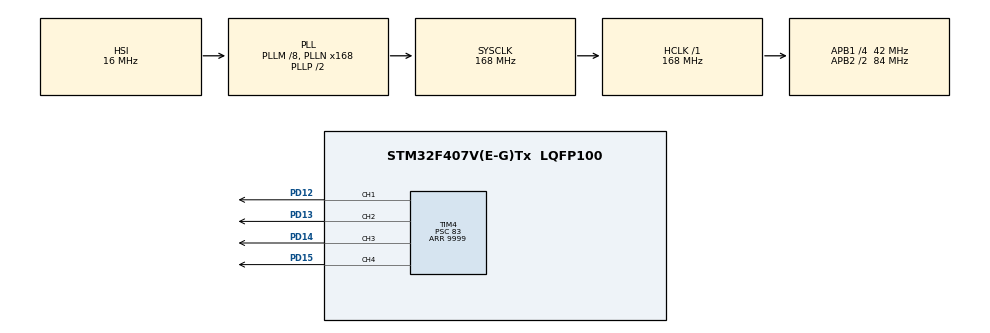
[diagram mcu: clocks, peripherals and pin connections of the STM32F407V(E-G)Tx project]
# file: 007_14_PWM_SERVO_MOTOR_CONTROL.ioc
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Mcu.Family=STM32F4
Mcu.Name=STM32F407V(E-G)Tx
Mcu.Package=LQFP100
NVIC.PriorityGroup=NVIC_PRIORITYGROUP_4
PD12.Signal=S_TIM4_CH1
PD13.Signal=S_TIM4_CH2
PD14.Signal=S_TIM4_CH3
PD15.Signal=S_TIM4_CH4
ProjectManager.HeapSize=0x200
ProjectManager.StackSize=0x400
ProjectManager.TargetToolchain=STM32CubeIDE
RCC.48MHZClocksFreq_Value=84000000
RCC.AHBFreq_Value=168000000
RCC.APB1CLKDivider=RCC_HCLK_DIV4
RCC.APB1Freq_Value=42000000
RCC.APB1TimFreq_Value=84000000
RCC.APB2CLKDivider=RCC_HCLK_DIV2
RCC.APB2Freq_Value=84000000
RCC.APB2TimFreq_Value=168000000
RCC.CortexFreq_Value=168000000
RCC.HCLKFreq_Value=168000000
RCC.HSE_VALUE=25000000
RCC.HSI_VALUE=16000000
RCC.LSE_VALUE=32768
RCC.PLLM=8
RCC.PLLN=168
RCC.SYSCLKFreq_VALUE=168000000
RCC.SYSCLKSource=RCC_SYSCLKSOURCE_PLLCLK
RCC.VCOOutputFreq_Value=336000000
SH.S_TIM4_CH1.0=TIM4_CH1,PWM Generation1 CH1
SH.S_TIM4_CH2.0=TIM4_CH2,PWM Generation2 CH2
SH.S_TIM4_CH3.0=TIM4_CH3,PWM Generation3 CH3
SH.S_TIM4_CH4.0=TIM4_CH4,PWM Generation4 CH4
TIM4.Channel-PWM\ Generation1\ CH1=TIM_CHANNEL_1
TIM4.Channel-PWM\ Generation2\ CH2=TIM_CHANNEL_2
TIM4.Channel-PWM\ Generation3\ CH3=TIM_CHANNEL_3
TIM4.Channel-PWM\ Generation4\ CH4=TIM_CHANNEL_4
TIM4.Period=9999
TIM4.Prescaler=83
board=custom

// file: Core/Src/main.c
/* USER CODE BEGIN Header */
/**
  ******************************************************************************
  * @file           : main.c
  * @brief          : Main program body
  ******************************************************************************
  * @attention
  *
  * Copyright (c) 2023 STMicroelectronics.
  * All rights reserved.
  *
  * This software is licensed under terms that can be found in the LICENSE file
  * in the root directory of this software component.
  * If no LICENSE file comes with this software, it is provided AS-IS.
  *
  ******************************************************************************
  */
/* USER CODE END Header */
#include "main.h"

TIM_HandleTypeDef htim4;

/* USER CODE BEGIN PV */
int i;
/* USER CODE END PV */

void SystemClock_Config(void);
static void MX_GPIO_Init(void);
static void MX_TIM4_Init(void);

int main(void)
{

  /* MCU Configuration--------------------------------------------------------*/

  /* Reset of all peripherals, Initializes the Flash interface and the Systick. */
  HAL_Init();

  /* Configure the system clock */
  SystemClock_Config();

  /* Initialize all configured peripherals */
  MX_GPIO_Init();
  MX_TIM4_Init();
  /* USER CODE BEGIN 2 */

  HAL_TIM_PWM_Start(&htim4, TIM_CHANNEL_1);
  HAL_TIM_PWM_Start(&htim4, TIM_CHANNEL_2);
  HAL_TIM_PWM_Start(&htim4, TIM_CHANNEL_3);
  HAL_TIM_PWM_Start(&htim4, TIM_CHANNEL_4);

  //timer4 ün channel1 ini pwm olarak baslattik

  /* USER CODE END 2 */

  /* Infinite loop */
  while (1)
  {

    /* USER CODE BEGIN 3 */
	  for(i=500;i<2500;i++)
	  {
		  __HAL_TIM_SetCompare(&htim4, TIM_CHANNEL_1,i);
		  __HAL_TIM_SetCompare(&htim4, TIM_CHANNEL_2,i);
		  __HAL_TIM_SetCompare(&htim4, TIM_CHANNEL_3,i);
		  __HAL_TIM_SetCompare(&htim4, TIM_CHANNEL_4,i);
		  HAL_Delay(1);
	  }
	  for(i=2500;i>=500;i--)
	 	  {
	 		  __HAL_TIM_SetCompare(&htim4, TIM_CHANNEL_1,i);
	 		 __HAL_TIM_SetCompare(&htim4, TIM_CHANNEL_2,i);
	 		__HAL_TIM_SetCompare(&htim4, TIM_CHANNEL_3,i);
	 		__HAL_TIM_SetCompare(&htim4, TIM_CHANNEL_4,i);
	 		  HAL_Delay(1);
	 	  }
  }
  /* USER CODE END 3 */
}

void SystemClock_Config(void)
{
  RCC_OscInitTypeDef RCC_OscInitStruct = {0};
  RCC_ClkInitTypeDef RCC_ClkInitStruct = {0};

  /** Configure the main internal regulator output voltage
  */
  __HAL_RCC_PWR_CLK_ENABLE();
  __HAL_PWR_VOLTAGESCALING_CONFIG(PWR_REGULATOR_VOLTAGE_SCALE1);

  /** Initializes the RCC Oscillators according to the specified parameters
  * in the RCC_OscInitTypeDef structure.
  */
  RCC_OscInitStruct.OscillatorType = RCC_OSCILLATORTYPE_HSI;
  RCC_OscInitStruct.HSIState = RCC_HSI_ON;
  RCC_OscInitStruct.HSICalibrationValue = RCC_HSICALIBRATION_DEFAULT;
  RCC_OscInitStruct.PLL.PLLState = RCC_PLL_ON;
  RCC_OscInitStruct.PLL.PLLSource = RCC_PLLSOURCE_HSI;
  RCC_OscInitStruct.PLL.PLLM = 8;
  RCC_OscInitStruct.PLL.PLLN = 168;
  RCC_OscInitStruct.PLL.PLLP = RCC_PLLP_DIV2;
  RCC_OscInitStruct.PLL.PLLQ = 4;
  if (HAL_RCC_OscConfig(&RCC_OscInitStruct) != HAL_OK)
  {
    Error_Handler();
  }

  /** Initializes the CPU, AHB and APB buses clocks
  */
  RCC_ClkInitStruct.ClockType = RCC_CLOCKTYPE_HCLK|RCC_CLOCKTYPE_SYSCLK
                              |RCC_CLOCKTYPE_PCLK1|RCC_CLOCKTYPE_PCLK2;
  RCC_ClkInitStruct.SYSCLKSource = RCC_SYSCLKSOURCE_PLLCLK;
  RCC_ClkInitStruct.AHBCLKDivider = RCC_SYSCLK_DIV1;
  RCC_ClkInitStruct.APB1CLKDivider = RCC_HCLK_DIV4;
  RCC_ClkInitStruct.APB2CLKDivider = RCC_HCLK_DIV2;

  if (HAL_RCC_ClockConfig(&RCC_ClkInitStruct, FLASH_LATENCY_5) != HAL_OK)
  {
    Error_Handler();
  }
}

static void MX_TIM4_Init(void)
{

  TIM_MasterConfigTypeDef sMasterConfig = {0};
  TIM_OC_InitTypeDef sConfigOC = {0};

  htim4.Instance = TIM4;
  htim4.Init.Prescaler = 83;
  htim4.Init.CounterMode = TIM_COUNTERMODE_UP;
  htim4.Init.Period = 9999;
  htim4.Init.ClockDivision = TIM_CLOCKDIVISION_DIV1;
  htim4.Init.AutoReloadPreload = TIM_AUTORELOAD_PRELOAD_DISABLE;
  if (HAL_TIM_PWM_Init(&htim4) != HAL_OK)
  {
    Error_Handler();
  }
  sMasterConfig.MasterOutputTrigger = TIM_TRGO_RESET;
  sMasterConfig.MasterSlaveMode = TIM_MASTERSLAVEMODE_DISABLE;
  if (HAL_TIMEx_MasterConfigSynchronization(&htim4, &sMasterConfig) != HAL_OK)
  {
    Error_Handler();
  }
  sConfigOC.OCMode = TIM_OCMODE_PWM1;
  sConfigOC.Pulse = 0;
  sConfigOC.OCPolarity = TIM_OCPOLARITY_HIGH;
  sConfigOC.OCFastMode = TIM_OCFAST_DISABLE;
  if (HAL_TIM_PWM_ConfigChannel(&htim4, &sConfigOC, TIM_CHANNEL_1) != HAL_OK)
  {
    Error_Handler();
  }
  if (HAL_TIM_PWM_ConfigChannel(&htim4, &sConfigOC, TIM_CHANNEL_2) != HAL_OK)
  {
    Error_Handler();
  }
  if (HAL_TIM_PWM_ConfigChannel(&htim4, &sConfigOC, TIM_CHANNEL_3) != HAL_OK)
  {
    Error_Handler();
  }
  if (HAL_TIM_PWM_ConfigChannel(&htim4, &sConfigOC, TIM_CHANNEL_4) != HAL_OK)
  {
    Error_Handler();
  }
  HAL_TIM_MspPostInit(&htim4);

}

static void MX_GPIO_Init(void)
{

  /* GPIO Ports Clock Enable */
  __HAL_RCC_GPIOD_CLK_ENABLE();

}

void Error_Handler(void)
{
  __disable_irq();
  while (1)
  {
  }
}
